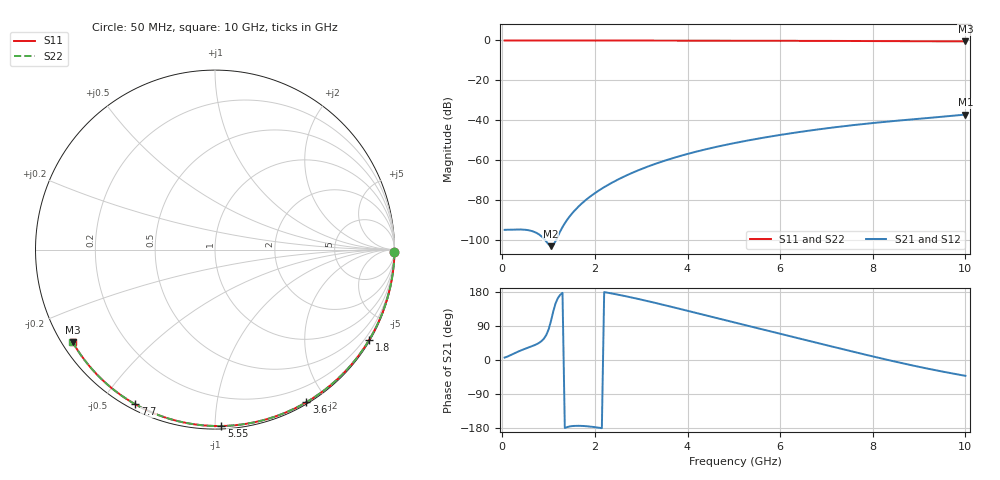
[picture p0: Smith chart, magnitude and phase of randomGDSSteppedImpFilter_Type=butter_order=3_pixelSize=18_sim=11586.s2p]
! freq	dB(S11)	phase(S11)	dB(S12)	phase(S12)
!  dB(S21)	phase(S21)	dB(S22)	phase(S22)
!S-par simulation data
#  GHz  S  DB  R 50
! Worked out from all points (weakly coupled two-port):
!   200 points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, 50 MHz to 10 GHz, reference 50 ohm
!   highest |S21| = -37.13 dB at 10 GHz (marker M1); lowest = -103.0 dB at 1.05 GHz (marker M2)
!   lowest |S11| = -0.5 dB at 10 GHz (marker M3), VSWR 36.03, Z = 1.51 - j14.8 ohm
!   |S11| at or under -10 dB: nowhere
!   |S22| runs from -0.5 to 0.0 dB; largest |S21 - S12| = 0
!   S11 on the Smith chart (normalised r, x): 50 MHz: open; 1.8 GHz: 0.03, -3.69; 3.6 GHz: 0.02, -1.77; 5.55 GHz: 0.02, -1.04; 7.7 GHz: 0.02, -0.61; 10 GHz: 0.03, -0.30
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0.05  -0.00 -0.9  -94.85 6.4  -94.85 6.4  -0.00 -0.9
0.55  -0.01 -9.4  -94.99 32.2  -94.99 32.2  -0.01 -9.4
1.05  -0.02 -17.8  -103.04 102.2  -103.04 102.2  -0.02 -17.8
1.75  -0.04 -29.5  -80.96 -174.1  -80.96 -174.1  -0.04 -29.5
1.8  -0.04 -30.3  -79.97 -174.6  -79.97 -174.6  -0.04 -30.3
1.95  -0.04 -32.8  -77.29 -176.4  -77.29 -176.4  -0.04 -32.8
2.1  -0.04 -35.2  -74.93 -178.9  -74.93 -178.9  -0.04 -35.2
2.3  -0.05 -38.5  -72.12 177.0  -72.12 177.0  -0.05 -38.5
2.5  -0.05 -41.7  -69.64 172.4  -69.64 172.4  -0.05 -41.7
2.9  -0.06 -48.1  -65.38 162.1  -65.38 162.1  -0.06 -48.1
3.4  -0.07 -56.0  -61.03 147.9  -61.03 147.9  -0.07 -56.0
3.6  -0.08 -59.1  -59.53 141.9  -59.53 141.9  -0.08 -59.1
3.9  -0.09 -63.7  -57.47 132.9  -57.47 132.9  -0.09 -63.7
4.3  -0.10 -69.7  -55.04 120.8  -55.04 120.8  -0.10 -69.7
5.05  -0.12 -80.7  -51.22 97.9  -51.22 97.9  -0.12 -80.7
5.55  -0.14 -87.9  -49.06 82.8  -49.06 82.8  -0.14 -87.9
6.1  -0.17 -95.6  -46.96 66.2  -46.96 66.2  -0.17 -95.6
6.7  -0.20 -103.8  -44.93 48.1  -44.93 48.1  -0.20 -103.8
7.7  -0.27 -117.2  -42.10 18.2  -42.10 18.2  -0.27 -117.2
8.35  -0.32 -125.7  -40.57 -0.5  -40.57 -0.5  -0.32 -125.7
9.2  -0.40 -136.7  -38.81 -23.2  -38.81 -23.2  -0.40 -136.7
10  -0.48 -147.1  -37.13 -41.7  -37.13 -41.7  -0.48 -147.1
